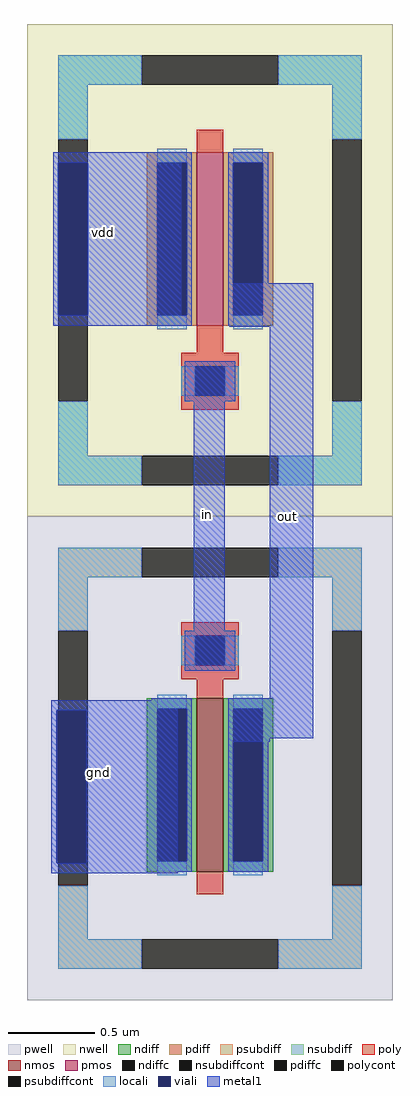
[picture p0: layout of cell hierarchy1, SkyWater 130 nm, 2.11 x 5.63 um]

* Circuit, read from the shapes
.subckt hierarchy1 vdd gnd out in
XM1 out in gnd gnd sky130_fd_pr__nfet_01v8 w=1 l=0.15
XM2 out in vdd vdd sky130_fd_pr__pfet_01v8 w=1 l=0.15
.ends

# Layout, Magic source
magic
tech sky130A
magscale 1 2
<< viali >>
rect 372 1040 406 1216
rect 370 408 404 584
<< metal1 >>
rect 366 1216 514 1228
rect 366 1040 372 1216
rect 406 1040 514 1216
rect 366 1028 514 1040
rect 569 1027 666 1077
rect 528 634 564 982
rect 616 598 666 1027
rect 364 584 510 596
rect 364 408 370 584
rect 404 408 510 584
rect 568 552 666 598
rect 568 548 616 552
rect 364 396 510 408
use sky130_fd_pr__pfet_01v8_LGS3BL  XM1
transform 1 0 547 0 1 1092
box -211 -284 211 284
use sky130_fd_pr__nfet_01v8_64Z3AY  XM3
transform 1 0 547 0 1 529
box -211 -279 211 279
<< labels >>
flabel metal1 424 1136 424 1136 0 FreeSans 160 0 0 0 vdd
port 0 nsew
flabel metal1 418 512 418 512 0 FreeSans 160 0 0 0 gnd
port 1 nsew
flabel metal1 636 808 636 808 0 FreeSans 160 0 0 0 out
port 2 nsew
flabel metal1 544 810 544 810 0 FreeSans 160 0 0 0 in
port 3 nsew
<< end >>

# cell sky130_fd_pr__pfet_01v8_LGS3BL: kit device sky130_fd_pr__pfet_01v8, w 1.0 l 0.15 m 1 nf 1 diffcov 100 polycov 100 guard 1 glc 1 grc 1 gtc 1 gbc 1 tbcov 100 rlcov 100 topc 0 botc 1 poverlap 0 doverlap 1 lmin 0.15 wmin 0.42 compatible {sky130_fd_pr__pfet_01v8 sky130_fd_pr__pfet_01v8_lvt sky130_fd_pr__pfet_01v8_hvt sky130_fd_pr__pfet_g5v0d10v5} full_metal 1 viasrc 100 viadrn 100 viagate 100 viagb 0 viagr 0 viagl 0 viagt 0

# cell sky130_fd_pr__nfet_01v8_64Z3AY: kit device sky130_fd_pr__nfet_01v8, w 1.0 l 0.15 m 1 nf 1 diffcov 100 polycov 100 guard 1 glc 1 grc 1 gtc 1 gbc 1 tbcov 100 rlcov 100 topc 1 botc 0 poverlap 0 doverlap 1 lmin 0.15 wmin 0.42 compatible {sky130_fd_pr__nfet_01v8 sky130_fd_pr__nfet_01v8_lvt sky130_fd_bs_flash__special_sonosfet_star sky130_fd_pr__nfet_g5v0d10v5 sky130_fd_pr__nfet_05v0_nvt sky130_fd_pr__nfet_03v3_nvt} full_metal 1 viasrc 100 viadrn 100 viagate 100 viagb 0 viagr 0 viagl 0 viagt 0
